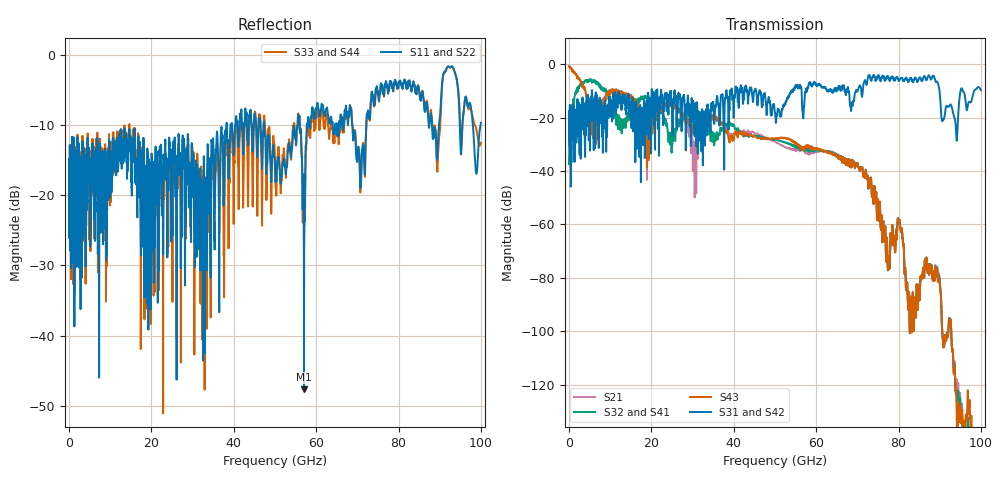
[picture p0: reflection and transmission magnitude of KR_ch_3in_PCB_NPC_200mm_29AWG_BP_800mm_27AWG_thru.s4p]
! Created Thu Mar  2 08:51:44 2023
# ghz S ma R 45
! 4 Port Network Data from SP1.SP block
! freq  magS11  angS11  magS12  angS12  magS13  angS13  magS14  angS14
!  magS21  angS21  magS22  angS22  magS23  angS23  magS24  angS24
!  magS31  angS31  magS32  angS32  magS33  angS33  magS34  angS34
!  magS41  angS41  magS42  angS42  magS43  angS43  magS44  angS44
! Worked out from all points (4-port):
!   4000 points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, 25 MHz to 100 GHz, reference 45 ohm
!   strongest paths, dB at 25 MHz, 25.02 GHz, 50.02 GHz, 75.03 GHz, 100 GHz:
!     S31: -21.6, -15.4, -18.2, -4.6, -9.7
!     S42: -21.6, -15.3, -18.3, -4.6, -9.8
!     S43: -0.7, -14.8, -27.8, -51.0, -137.1
!     S32: -35.7, -30.8, -28.3, -51.1, -144.2
!     S41: -35.7, -30.8, -28.3, -51.1, -144.2
!     S21: -0.7, -14.8, -29.0, -51.2, -152.8
!   lowest |S11| = -47.7 dB at 57.05 GHz (marker M1), VSWR 1.01, Z = 45.4 + j0.0443 ohm
!   |S11| at or under -10 dB: start of sweep to 38.22 GHz; 47.43 GHz to 55.51 GHz (8.077 GHz wide, 15.7 % of centre); 68.8 GHz to 72.19 GHz (3.384 GHz wide, 4.8 % of centre)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
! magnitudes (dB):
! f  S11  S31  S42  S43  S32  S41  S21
! 25 MHz  -16.9  -21.6  -21.6  -0.7  -35.7  -35.7  -0.7
! 5.25 GHz  -22.5  -14.6  -14.6  -18.8  -5.9  -5.9  -17.4
! 57.05 GHz  -47.7  -15.9  -16.0  -31.3  -31.4  -31.4  -31.5
! 70.83 GHz  -18.6  -8.5  -8.6  -38.5  -38.5  -38.5  -38.4
! 82.22 GHz  -4.7  -6.1  -6.1  -87.6  -87.6  -87.6  -87.6
! 93.95 GHz  -3.0  -24.4  -24.4  -122.0  -123.0  -123.0  -121.5
! 100 GHz  -9.7  -9.7  -9.8  -137.1  -144.2  -144.2  -152.8
